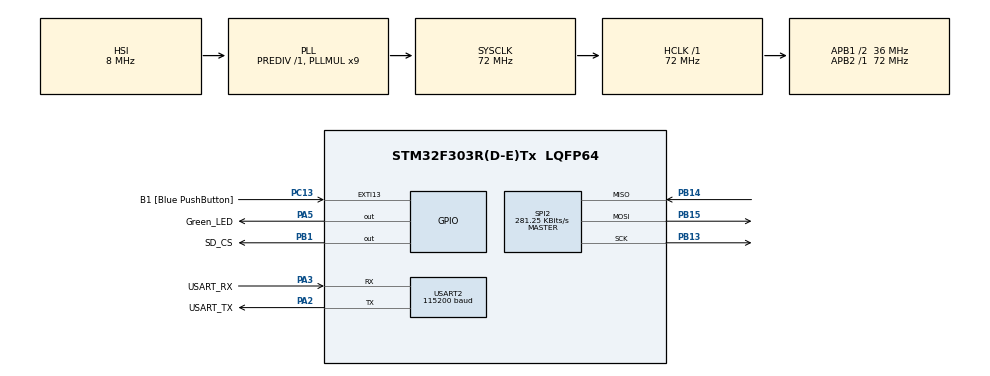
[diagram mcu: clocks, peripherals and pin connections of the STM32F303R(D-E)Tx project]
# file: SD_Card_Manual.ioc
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Mcu.Family=STM32F3
Mcu.Name=STM32F303R(D-E)Tx
Mcu.Package=LQFP64
NVIC.PriorityGroup=NVIC_PRIORITYGROUP_0
PA13.GPIO_Label=TMS
PA13.Mode=Serial_Wire
PA13.Signal=SYS_JTMS-SWDIO
PA14.GPIO_Label=TCK
PA14.Mode=Serial_Wire
PA14.Signal=SYS_JTCK-SWCLK
PA2.GPIO_Label=USART_TX
PA2.GPIO_Mode=GPIO_MODE_AF_PP
PA2.GPIO_PuPd=GPIO_NOPULL
PA2.GPIO_Speed=GPIO_SPEED_FREQ_LOW
PA2.Mode=Asynchronous
PA2.Signal=USART2_TX
PA3.GPIO_Label=USART_RX
PA3.GPIO_Mode=GPIO_MODE_AF_PP
PA3.GPIO_PuPd=GPIO_NOPULL
PA3.GPIO_Speed=GPIO_SPEED_FREQ_LOW
PA3.Mode=Asynchronous
PA3.Signal=USART2_RX
PA5.GPIO_Label=Green_LED
PA5.GPIO_Mode=GPIO_MODE_OUTPUT_PP
PA5.GPIO_PuPd=GPIO_NOPULL
PA5.GPIO_Speed=GPIO_SPEED_FREQ_LOW
PA5.Signal=GPIO_Output
PB1.GPIO_Label=SD_CS
PB1.PinState=GPIO_PIN_SET
PB1.Signal=GPIO_Output
PB13.Mode=Full_Duplex_Master
PB13.Signal=SPI2_SCK
PB14.Mode=Full_Duplex_Master
PB14.Signal=SPI2_MISO
PB15.Mode=Full_Duplex_Master
PB15.Signal=SPI2_MOSI
PB3.GPIO_Label=SWO
PB3.Signal=SYS_JTDO-TRACESWO
PC13.GPIO_Label=B1 [Blue PushButton]
PC13.GPIO_ModeDefaultEXTI=GPIO_MODE_IT_FALLING
PC13.Signal=GPXTI13
PC14-OSC32_IN.Mode=LSE-External-Oscillator
PC14-OSC32_IN.Signal=RCC_OSC32_IN
PC15-OSC32_OUT.Mode=LSE-External-Oscillator
PC15-OSC32_OUT.Signal=RCC_OSC32_OUT
PF0-OSC_IN.Mode=HSE-External-Clock-Source
PF0-OSC_IN.Signal=RCC_OSC_IN
PF1-OSC_OUT.Signal=RCC_OSC_OUT
ProjectManager.HeapSize=0x200
ProjectManager.StackSize=0x400
ProjectManager.TargetToolchain=STM32CubeIDE
RCC.AHBFreq_Value=72000000
RCC.APB1CLKDivider=RCC_HCLK_DIV2
RCC.APB1Freq_Value=36000000
RCC.APB1TimFreq_Value=72000000
RCC.APB2Freq_Value=72000000
RCC.APB2TimFreq_Value=72000000
RCC.CortexFreq_Value=72000000
RCC.HCLKFreq_Value=72000000
RCC.HSE_VALUE=8000000
RCC.HSI_VALUE=8000000
RCC.PLLM=8
RCC.PLLMUL=RCC_PLL_MUL9
RCC.PLLN=336
RCC.PLLP=RCC_PLLP_DIV4
RCC.PLLQ=7
RCC.RCC_PLLsource_Clock_Source_FROM_HSE=RCC_HSE_PREDIV_DIV2
RCC.SYSCLKFreq_VALUE=72000000
RCC.SYSCLKSourceVirtual=RCC_SYSCLKSOURCE_PLLCLK
RCC.USBFreq_Value=72000000
SPI2.BaudRatePrescaler=SPI_BAUDRATEPRESCALER_128
SPI2.CalculateBaudRate=281.25 KBits/s
SPI2.DataSize=SPI_DATASIZE_8BIT
SPI2.Direction=SPI_DIRECTION_2LINES
SPI2.Mode=SPI_MODE_MASTER
SPI2.VirtualType=VM_MASTER
USART2.BaudRate=115200
USART2.VirtualMode-Asynchronous=VM_ASYNC
board=NUCLEO-F303RE

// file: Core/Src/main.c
/* USER CODE BEGIN Header */
/**
  ******************************************************************************
  * @file           : main.c
  * @brief          : Main program body
  ******************************************************************************
  * @attention
  *
  * Copyright (c) 2025 STMicroelectronics.
  * All rights reserved.
  *
  * This software is licensed under terms that can be found in the LICENSE file
  * in the root directory of this software component.
  * If no LICENSE file comes with this software, it is provided AS-IS.
  *
  ******************************************************************************
  */
/* USER CODE END Header */
#include "main.h"

/* USER CODE BEGIN Includes */
#include <stdio.h>
#include <string.h>
#include <stdarg.h>
#include <stdbool.h>
/* USER CODE END Includes */

SPI_HandleTypeDef hspi2;

UART_HandleTypeDef huart2;

/* USER CODE BEGIN PV */
HAL_StatusTypeDef ok_notok = HAL_BUSY;
uint8_t CMD0 [] = {0x40,0x00,0x00, 0x00, 0x00, 0x95};
uint8_t high [] = {0xFF, 0xFF, 0xFF, 0xFF, 0xFF, 0xFF, 0xFF, 0xFF, 0xFF, 0xFF};
uint8_t CMD1 [] = {0x41,0x00,0x00, 0x00, 0x00, 0x79};
uint8_t CMD8 [] = {0x48, 0x00, 0x00, 0x01, 0xAA, 0x87};
uint8_t CMD55 [] = {0x77, 0x00, 0x00, 0x00, 0x00, 0x65};
uint8_t ACMD41 [] = {0x69, 0x40, 0x00, 0x00, 0x00, 0x77};
uint8_t highByte [] = {0xFF};

uint8_t CMD0_Response [2]; //8 (max wait) + 2 (payload)
uint8_t CMD1_Response [2];
uint8_t CMD8_Response [7];
uint8_t CMD55_Response [2];
uint8_t ACMD41_Response [2];
int count = 0;
/* USER CODE END PV */

void SystemClock_Config(void);
static void MX_GPIO_Init(void);
static void MX_USART2_UART_Init(void);
static void MX_SPI2_Init(void);
/* USER CODE BEGIN PFP */
void myprintf(const char *fmt, ...);
void configure_sd(void);
int acdm55(void);
/* USER CODE END PFP */

/* USER CODE BEGIN 0 */
void myprintf(const char *fmt, ...) {
  static char buffer[256];
  va_list args;
  va_start(args, fmt);
  vsnprintf(buffer, sizeof(buffer), fmt, args);
  va_end(args);

  int len = strlen(buffer);
  HAL_UART_Transmit(&huart2, (uint8_t*)buffer, len, -1);

}

int acdm55(void) {
	ok_notok = HAL_SPI_Transmit(&hspi2, highByte, 1, 1000);
	ok_notok = HAL_SPI_Transmit(&hspi2, highByte, 1, 1000);
	ok_notok = HAL_SPI_Transmit(&hspi2, CMD55, 6, 1000); //Sending in Blocking mode
		HAL_Delay(10);
		HAL_SPI_Receive(&hspi2, CMD55_Response, 2, 1000);
		//HAL_Delay(1000);
		count = 0;
		while(count < 20 && CMD55_Response[0] != 0x0 && CMD55_Response[1] != 0x1){
				count++;
				for(int i = 0; i<2; i++){
							  myprintf("(%x)", CMD55_Response[i]);
						  }
				myprintf("\r\n");
			  ok_notok = HAL_SPI_Transmit(&hspi2, CMD55, 6, 1000); //Sending in Blocking mode
			  HAL_Delay(10);
			  HAL_SPI_Receive(&hspi2, CMD55_Response, 2, 1000);
		}
		if(count == 20){
			//myprintf("CMD 55 Timeout \r\n");
				return 0;
			}
		myprintf("CMD55: ");
		for(int i = 0; i<2; i++){
				  myprintf("(%x)", CMD55_Response[i]);
			  }
		myprintf("\r\n");
		ok_notok = HAL_SPI_Transmit(&hspi2, highByte, 1, 1000);
		ok_notok = HAL_SPI_Transmit(&hspi2, highByte, 1, 1000);
		//ACMD41
		ok_notok = HAL_SPI_Transmit(&hspi2, ACMD41, 6, 1000); //Sending in Blocking mode
		HAL_Delay(100);
		HAL_SPI_Receive(&hspi2, ACMD41_Response, 2, 1000);
		count = 0;
		if(ACMD41_Response[0] != 0x0 && ACMD41_Response[1] != 0x0)
		{
			myprintf("ACMD41 Fail once: ");
			for(int i = 0; i<2; i++){
				myprintf("(%x)", ACMD41_Response[i]);
			}
			myprintf("\r\n");
			return 0;
		}
		myprintf("ACMD41: ");
		for(int i = 0; i<2; i++){
				  myprintf("(%x)", ACMD41_Response[i]);
			  }
		myprintf("\r\n");
		return 1;
}

void configure_sd(void) {

	HAL_GPIO_WritePin(GPIOB, SD_CS_Pin, SET);
	ok_notok = HAL_SPI_Transmit(&hspi2, high, 10, 1000); //Sending in Blocking mode
	HAL_GPIO_WritePin(GPIOB, SD_CS_Pin, RESET);
	//HAL_GPIO_WritePin(GPIOA, Green_LED_Pin, SET);
	//		  ok_notok = HAL_UART_Transmit(&huart2, (uint8_t *)hw, len, 100);

	//CMD0:
	ok_notok = HAL_SPI_Transmit(&hspi2, CMD0, 6, 1000); //Sending in Blocking mode
	HAL_Delay(100);
	HAL_SPI_Receive(&hspi2, CMD0_Response, 2, 1000);
	count = 0;
	while(CMD0_Response[1] != 0x1 && count < 20){
	  count++;
	  myprintf("0 Failed once: \r\n");
	  ok_notok = HAL_SPI_Transmit(&hspi2, CMD0, 6, 1000); //Sending in Blocking mode
	  HAL_Delay(100);
	  HAL_SPI_Receive(&hspi2, CMD0_Response, 2, 1000);
	}
	if(count == 20){
		myprintf("Timeout \r\n");
		return;
	}
	myprintf("CMD0: ");
	for(int i = 0; i<2; i++){
			  myprintf("(%x)", CMD0_Response[i]);
		  }
	myprintf("\r\n");
	//HAL_Delay(100);
	ok_notok = HAL_SPI_Transmit(&hspi2, highByte, 1, 1000);
	ok_notok = HAL_SPI_Transmit(&hspi2, highByte, 1, 1000);

	//CMD8:
	ok_notok = HAL_SPI_Transmit(&hspi2, CMD8, 6, 1000); //Sending in Blocking mode
	HAL_Delay(100);
	HAL_SPI_Receive(&hspi2, CMD8_Response, 7, 1000);
	//HAL_Delay(1000);
	count = 0;
	while(count < 20 && (CMD8_Response[1] != 0x1 || CMD8_Response[5] != 0xAA)){
			count++;
			  myprintf("8 Failed once: \r\n");
			  for(int i = 0; i<7; i++){
			  			  myprintf("(%x)", CMD8_Response[i]);
			  		  }
			  ok_notok = HAL_SPI_Transmit(&hspi2, CMD8, 6, 1000); //Sending in Blocking mode
			  HAL_Delay(100);
			  HAL_SPI_Receive(&hspi2, CMD8_Response, 7, 1000);
	}
	if(count == 20){
		myprintf("Timeout \r\n");
			return;
		}
	myprintf("CMD8: ");
	for(int i = 0; i<7; i++){
			  myprintf("(%x)", CMD8_Response[i]);
		  }
	myprintf("\r\n");
	ok_notok = HAL_SPI_Transmit(&hspi2, highByte, 1, 1000);
	ok_notok = HAL_SPI_Transmit(&hspi2, highByte, 1, 1000);

	//CMD55:
	int counter = 0;
	int worked = acdm55();
	myprintf("Worked: (%i)\r\n", worked);
	while(worked == 0 && counter<20){
			worked = acdm55();
			//myprintf("Worked: (%i)\r\n", worked);
			counter++;
			//myprintf("Count: (%x)\r\n", count);
			if(worked==1){
				myprintf("yay!\r\n");
			}
	}
	myprintf("Count: %i\r\n", counter);
	myprintf("Worked: %i\r\n", worked);
	if(counter==20){
		myprintf("Timeout\r\n");
		return;
	}

	myprintf("End of Start Up\r\n");
	if(ok_notok == HAL_OK){
	  HAL_GPIO_WritePin(GPIOA, Green_LED_Pin, SET);
	}
	HAL_Delay(1000);
	HAL_GPIO_WritePin(GPIOA, Green_LED_Pin, RESET);
	HAL_GPIO_WritePin(GPIOB, SD_CS_Pin, SET);
}
/* USER CODE END 0 */

int main(void)
{

  /* MCU Configuration--------------------------------------------------------*/

  /* Reset of all peripherals, Initializes the Flash interface and the Systick. */
  HAL_Init();

  /* Configure the system clock */
  SystemClock_Config();

  /* Initialize all configured peripherals */
  MX_GPIO_Init();
  MX_USART2_UART_Init();
  MX_SPI2_Init();
  /* USER CODE BEGIN 2 */
  const char *hw = "Hello World! \r\n";
  HAL_GPIO_WritePin(GPIOA, Green_LED_Pin, RESET);
  HAL_Delay(3000); //a short delay is important to let the SD card settle
  GPIO_PinState pressed;

  int len = 15;
  ok_notok = HAL_UART_Transmit(&huart2, (uint8_t *)hw, len, 100);

  /* USER CODE END 2 */

  /* Infinite loop */
  /* USER CODE BEGIN WHILE */
  while (1)
  {
	  pressed = HAL_GPIO_ReadPin(GPIOC, GPIO_PIN_13);
	  if(pressed == 0){
		  configure_sd();
		  HAL_Delay(1000);
	  }
    /* USER CODE END WHILE */

  }
}

void SystemClock_Config(void)
{
  RCC_OscInitTypeDef RCC_OscInitStruct = {0};
  RCC_ClkInitTypeDef RCC_ClkInitStruct = {0};
  RCC_PeriphCLKInitTypeDef PeriphClkInit = {0};

  /** Initializes the RCC Oscillators according to the specified parameters
  * in the RCC_OscInitTypeDef structure.
  */
  RCC_OscInitStruct.OscillatorType = RCC_OSCILLATORTYPE_HSI;
  RCC_OscInitStruct.HSIState = RCC_HSI_ON;
  RCC_OscInitStruct.HSICalibrationValue = RCC_HSICALIBRATION_DEFAULT;
  RCC_OscInitStruct.PLL.PLLState = RCC_PLL_ON;
  RCC_OscInitStruct.PLL.PLLSource = RCC_PLLSOURCE_HSI;
  RCC_OscInitStruct.PLL.PLLMUL = RCC_PLL_MUL9;
  RCC_OscInitStruct.PLL.PREDIV = RCC_PREDIV_DIV1;
  if (HAL_RCC_OscConfig(&RCC_OscInitStruct) != HAL_OK)
  {
    Error_Handler();
  }

  /** Initializes the CPU, AHB and APB buses clocks
  */
  RCC_ClkInitStruct.ClockType = RCC_CLOCKTYPE_HCLK|RCC_CLOCKTYPE_SYSCLK
                              |RCC_CLOCKTYPE_PCLK1|RCC_CLOCKTYPE_PCLK2;
  RCC_ClkInitStruct.SYSCLKSource = RCC_SYSCLKSOURCE_PLLCLK;
  RCC_ClkInitStruct.AHBCLKDivider = RCC_SYSCLK_DIV1;
  RCC_ClkInitStruct.APB1CLKDivider = RCC_HCLK_DIV2;
  RCC_ClkInitStruct.APB2CLKDivider = RCC_HCLK_DIV1;

  if (HAL_RCC_ClockConfig(&RCC_ClkInitStruct, FLASH_LATENCY_2) != HAL_OK)
  {
    Error_Handler();
  }
  PeriphClkInit.PeriphClockSelection = RCC_PERIPHCLK_USART2;
  PeriphClkInit.Usart2ClockSelection = RCC_USART2CLKSOURCE_PCLK1;
  if (HAL_RCCEx_PeriphCLKConfig(&PeriphClkInit) != HAL_OK)
  {
    Error_Handler();
  }
}

static void MX_SPI2_Init(void)
{

  /* SPI2 parameter configuration*/
  hspi2.Instance = SPI2;
  hspi2.Init.Mode = SPI_MODE_MASTER;
  hspi2.Init.Direction = SPI_DIRECTION_2LINES;
  hspi2.Init.DataSize = SPI_DATASIZE_8BIT;
  hspi2.Init.CLKPolarity = SPI_POLARITY_LOW;
  hspi2.Init.CLKPhase = SPI_PHASE_1EDGE;
  hspi2.Init.NSS = SPI_NSS_SOFT;
  hspi2.Init.BaudRatePrescaler = SPI_BAUDRATEPRESCALER_128;
  hspi2.Init.FirstBit = SPI_FIRSTBIT_MSB;
  hspi2.Init.TIMode = SPI_TIMODE_DISABLE;
  hspi2.Init.CRCCalculation = SPI_CRCCALCULATION_DISABLE;
  hspi2.Init.CRCPolynomial = 7;
  hspi2.Init.CRCLength = SPI_CRC_LENGTH_DATASIZE;
  hspi2.Init.NSSPMode = SPI_NSS_PULSE_ENABLE;
  if (HAL_SPI_Init(&hspi2) != HAL_OK)
  {
    Error_Handler();
  }

}

static void MX_USART2_UART_Init(void)
{

  huart2.Instance = USART2;
  huart2.Init.BaudRate = 115200;
  huart2.Init.WordLength = UART_WORDLENGTH_8B;
  huart2.Init.StopBits = UART_STOPBITS_1;
  huart2.Init.Parity = UART_PARITY_NONE;
  huart2.Init.Mode = UART_MODE_TX_RX;
  huart2.Init.HwFlowCtl = UART_HWCONTROL_NONE;
  huart2.Init.OverSampling = UART_OVERSAMPLING_16;
  huart2.Init.OneBitSampling = UART_ONE_BIT_SAMPLE_DISABLE;
  huart2.AdvancedInit.AdvFeatureInit = UART_ADVFEATURE_NO_INIT;
  if (HAL_UART_Init(&huart2) != HAL_OK)
  {
    Error_Handler();
  }

}

static void MX_GPIO_Init(void)
{
  GPIO_InitTypeDef GPIO_InitStruct = {0};

  /* GPIO Ports Clock Enable */
  __HAL_RCC_GPIOC_CLK_ENABLE();
  __HAL_RCC_GPIOF_CLK_ENABLE();
  __HAL_RCC_GPIOA_CLK_ENABLE();
  __HAL_RCC_GPIOB_CLK_ENABLE();

  /*Configure GPIO pin Output Level */
  HAL_GPIO_WritePin(Green_LED_GPIO_Port, Green_LED_Pin, GPIO_PIN_RESET);

  /*Configure GPIO pin Output Level */
  HAL_GPIO_WritePin(SD_CS_GPIO_Port, SD_CS_Pin, GPIO_PIN_SET);

  /*Configure GPIO pin : B1_Pin */
  GPIO_InitStruct.Pin = B1_Pin;
  GPIO_InitStruct.Mode = GPIO_MODE_IT_FALLING;
  GPIO_InitStruct.Pull = GPIO_NOPULL;
  HAL_GPIO_Init(B1_GPIO_Port, &GPIO_InitStruct);

  /*Configure GPIO pin : Green_LED_Pin */
  GPIO_InitStruct.Pin = Green_LED_Pin;
  GPIO_InitStruct.Mode = GPIO_MODE_OUTPUT_PP;
  GPIO_InitStruct.Pull = GPIO_NOPULL;
  GPIO_InitStruct.Speed = GPIO_SPEED_FREQ_LOW;
  HAL_GPIO_Init(Green_LED_GPIO_Port, &GPIO_InitStruct);

  /*Configure GPIO pin : SD_CS_Pin */
  GPIO_InitStruct.Pin = SD_CS_Pin;
  GPIO_InitStruct.Mode = GPIO_MODE_OUTPUT_PP;
  GPIO_InitStruct.Pull = GPIO_NOPULL;
  GPIO_InitStruct.Speed = GPIO_SPEED_FREQ_LOW;
  HAL_GPIO_Init(SD_CS_GPIO_Port, &GPIO_InitStruct);

}

void Error_Handler(void)
{
  __disable_irq();
  while (1)
  {
  }
}
